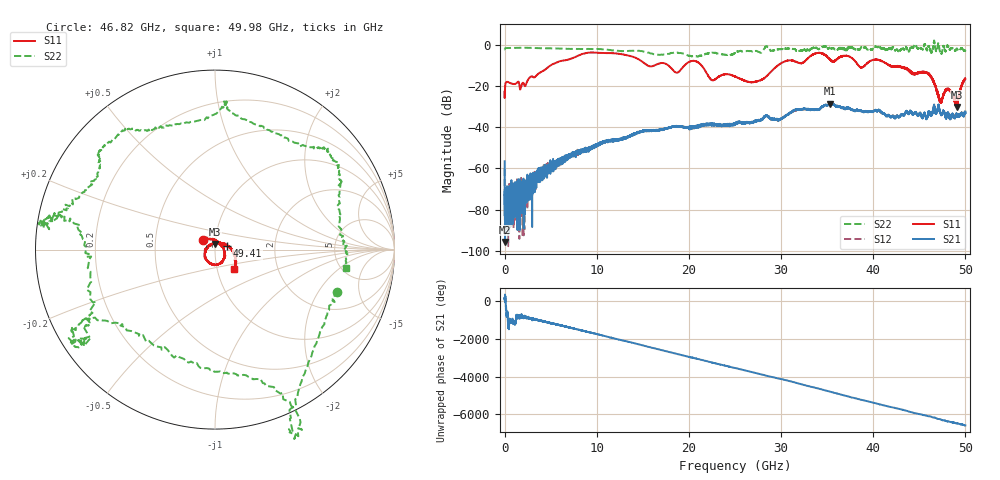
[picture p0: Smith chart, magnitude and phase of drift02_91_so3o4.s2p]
!Created with skrf (http://scikit-rf.org).
# Hz S RI R 50.0
!freq ReS11 ImS11 ReS21 ImS21 ReS12 ImS12 ReS22 ImS22
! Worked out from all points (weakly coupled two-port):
!   10001 points, 300 kHz to 50 GHz, reference 50 ohm
!   highest |S21| = -28.49 dB at 35.32 GHz (marker M1); lowest = -95.8 dB at 50.3 MHz (marker M2)
!   lowest |S11| = -30.1 dB at 49.06 GHz (marker M3), VSWR 1.06, Z = 50 + j3.13 ohm
!   |S11| at or under -10 dB: start of sweep to 4.956 GHz; 21.38 GHz to 29.62 GHz (8.244 GHz wide, 32.3 % of centre); 41.83 GHz to end of sweep (the widest 3 of 9)
!   |S22| runs from -5.7 to 2.2 dB; largest |S21 - S12| = 0.0032
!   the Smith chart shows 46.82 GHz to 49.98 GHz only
!   S11 on the Smith chart (normalised r, x): 46.82 GHz: 0.87, +0.09; 49.41 GHz: 1.15, +0.04; 49.98 GHz: 1.20, -0.27
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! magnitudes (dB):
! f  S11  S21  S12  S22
! 300 kHz  -22.7  -56.5  -60.0  -2.1
! 50.3 MHz  -20.5  -95.8  -84.8  -1.6
! 295.3 MHz  -17.9  -75.7  -71.0  -1.4
! 1.87 GHz  -19.1  -67.8  -80.0  -1.3
! 8.335 GHz  -4.5  -51.5  -52.2  -1.9
! 16.67 GHz  -9.1  -41.5  -41.3  -4.7
! 18.71 GHz  -13.4  -39.7  -39.6  -3.7
! 20.6 GHz  -7.7  -39.9  -39.9  -5.7
! 22.51 GHz  -17.1  -38.5  -38.5  -3.7
! 25 GHz  -15.3  -38.7  -38.4  -3.9
! 27.47 GHz  -17.6  -36.4  -36.7  -3.2
! 33.34 GHz  -4.9  -31.4  -31.3  -1.6
! 35.32 GHz  -7.0  -28.5  -28.7  -1.3
! 41.67 GHz  -9.6  -34.0  -34.2  -1.9
! 45.82 GHz  -13.3  -35.8  -35.5  -2.5
! 46.82 GHz  -21.2  -33.4  -33.2  -2.9
! 47.28 GHz  -27.5  -33.2  -32.8  -3.3
! 48.11 GHz  -21.5  -33.1  -33.1  -0.6
! 49.06 GHz  -30.1  -33.8  -33.5  -1.7
! 49.41 GHz  -22.9  -34.1  -34.0  -2.3
! 49.98 GHz  -16.4  -33.4  -32.8  -2.6
! 50 GHz  -16.4  -32.4  -33.1  -2.6
